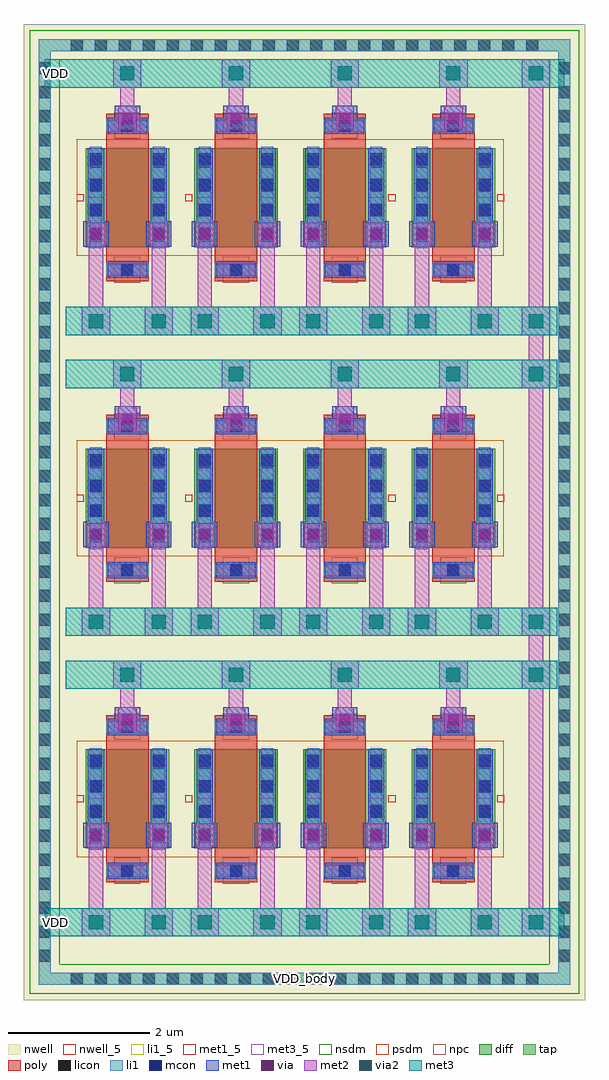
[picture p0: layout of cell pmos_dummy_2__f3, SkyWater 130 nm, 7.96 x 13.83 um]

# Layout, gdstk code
from math import pi, radians
import gdstk
lib = gdstk.Library(unit=1e-6, precision=1e-09)
def R(c, l, rs):  # rectangles x0, y0, x1, y1
    for r in rs: c.add(gdstk.rectangle(r[:2], r[2:], *l))
def A(c, l, x, y, w, h, nx, ny, dx, dy):  # array of equal rectangles
    R(c, l, [(x+i*dx, y+j*dy, x+i*dx+w, y+j*dy+h) for i in range(nx) for j in range(ny)])
nwell_5 = (64, 5)
nwell = (64, 20)
diff = (65, 20)
tap = (65, 44)
poly = (66, 20)
licon = (66, 44)
li1_5 = (67, 5)
li1 = (67, 20)
mcon = (67, 44)
met1_5 = (68, 5)
met1 = (68, 20)
via = (68, 44)
met2 = (69, 20)
via2 = (69, 44)
met3_5 = (70, 5)
met3 = (70, 20)
nsdm = (93, 44)
psdm = (94, 20)
npc = (95, 20)

sky130_fd_pr__pfet_01v8_ = lib.new_cell('sky130_fd_pr__pfet_01v8_RGDEC8')
R(sky130_fd_pr__pfet_01v8_, nwell, [(-0.77,-1.2,0.77,1.2)])
R(sky130_fd_pr__pfet_01v8_, diff, [(-0.59,-0.7,0.59,0.7)])
R(sky130_fd_pr__pfet_01v8_, poly, [(-0.3,-1.185,0.3,1.185)])
A(sky130_fd_pr__pfet_01v8_, licon, -0.53, -0.595, 0.17, 0.17, 1, 4, 0, 0.34)
A(sky130_fd_pr__pfet_01v8_, licon, 0.36, -0.595, 0.17, 0.17, 1, 4, 0, 0.34)
R(sky130_fd_pr__pfet_01v8_, licon, [(-0.085,-1.105,0.085,-0.935), (-0.085,0.935,0.085,1.105)])
R(sky130_fd_pr__pfet_01v8_, li1, [(-0.3,-1.105,0.3,-0.935), (-0.53,-0.72,-0.36,0.72), (0.36,-0.72,0.53,0.72), (-0.3,0.935,0.3,1.105)])
A(sky130_fd_pr__pfet_01v8_, mcon, -0.53, -0.625, 0.17, 0.17, 1, 4, 0, 0.36)
A(sky130_fd_pr__pfet_01v8_, mcon, 0.36, -0.625, 0.17, 0.17, 1, 4, 0, 0.36)
R(sky130_fd_pr__pfet_01v8_, mcon, [(-0.085,-1.105,0.085,-0.935), (-0.085,0.935,0.085,1.105)])
R(sky130_fd_pr__pfet_01v8_, met1, [(-0.28,-1.135,0.28,-0.905), (-0.56,-0.7,-0.33,0.7), (0.33,-0.7,0.56,0.7), (-0.28,0.905,0.28,1.135)])
R(sky130_fd_pr__pfet_01v8_, psdm, [(-0.715,-0.825,0.715,0.825)])
R(sky130_fd_pr__pfet_01v8_, npc, [(-0.185,-1.205,0.185,-0.835), (-0.185,0.835,0.185,1.205)])
sky130_fd_pr__pfet_01v8_.add(gdstk.Label('D', (-0.445,0), layer=67, texttype=5))
sky130_fd_pr__pfet_01v8_.add(gdstk.Label('S', (0.445,0), layer=67, texttype=5))
sky130_fd_pr__pfet_01v8_.add(gdstk.Label('G', (0,1.02), layer=67, texttype=5))

pfet_01v8_w1p4_l0p6_m6__ = lib.new_cell('pfet_01v8_W1p4_L0p6_m6__nf1_gboth_sdfull_ng')
R(pfet_01v8_w1p4_l0p6_m6__, nwell_5, [(0.05,1.15,0.15,1.25)])
R(pfet_01v8_w1p4_l0p6_m6__, nwell, [(0.05,1.15,0.15,1.25)])
R(pfet_01v8_w1p4_l0p6_m6__, met1_5, [(0.21,1.2,0.44,1.4), (1.1,1.2,1.33,1.4), (0.49,2.105,1.05,2.335)])
R(pfet_01v8_w1p4_l0p6_m6__, met1, [(0.21,1.2,0.44,1.4), (1.1,1.2,1.33,1.4), (0.49,2.105,1.05,2.335)])
pfet_01v8_w1p4_l0p6_m6__.add(gdstk.Reference(sky130_fd_pr__pfet_01v8_, (0.77,1.2)))
pfet_01v8_w1p4_l0p6_m6__.add(gdstk.Label('D', (0.325,1.3), layer=68, texttype=5))
pfet_01v8_w1p4_l0p6_m6__.add(gdstk.Label('S', (1.215,1.3), layer=68, texttype=5))
pfet_01v8_w1p4_l0p6_m6__.add(gdstk.Label('G', (0.77,2.22), layer=68, texttype=5))
pfet_01v8_w1p4_l0p6_m6__.add(gdstk.Label('B', (0.1,1.2), layer=64, texttype=5))

pmos_dummy_2__f3 = lib.new_cell('pmos_dummy_2__f3')
R(pmos_dummy_2__f3, nwell, [(-0.7,-1.65,7.26,12.18)])
R(pmos_dummy_2__f3, tap, [(-0.485,-1.435,7.045,-1.265), (-0.485,-1.265,-0.315,11.795), (6.875,-1.265,7.045,11.795), (-0.485,11.795,7.045,11.965)])
A(pmos_dummy_2__f3, licon, -0.035, -1.435, 0.17, 0.17, 20, 2, 0.34, 13.23)
A(pmos_dummy_2__f3, licon, -0.485, -1.11, 0.17, 0.17, 1, 38, 0, 0.34)
A(pmos_dummy_2__f3, licon, 6.875, -1.11, 0.17, 0.17, 1, 38, 0, 0.34)
R(pmos_dummy_2__f3, li1_5, [(3.23,-1.4,3.33,-1.3)])
R(pmos_dummy_2__f3, li1, [(-0.485,-1.435,7.045,-1.265), (-0.485,-1.265,-0.315,11.795), (6.875,-1.265,7.045,11.795), (-0.485,11.795,7.045,11.965)])
A(pmos_dummy_2__f3, met1, 0.145, 0.505, 0.36, 0.36, 1, 3, 0, 4.26)
A(pmos_dummy_2__f3, met1, 1.035, 0.505, 0.36, 0.36, 1, 3, 0, 4.26)
A(pmos_dummy_2__f3, met1, 1.685, 0.505, 0.36, 0.36, 1, 3, 0, 4.26)
A(pmos_dummy_2__f3, met1, 2.575, 0.505, 0.36, 0.36, 1, 3, 0, 4.26)
A(pmos_dummy_2__f3, met1, 3.225, 0.505, 0.36, 0.36, 1, 3, 0, 4.26)
A(pmos_dummy_2__f3, met1, 4.115, 0.505, 0.36, 0.36, 1, 3, 0, 4.26)
A(pmos_dummy_2__f3, met1, 4.765, 0.505, 0.36, 0.36, 1, 3, 0, 4.26)
A(pmos_dummy_2__f3, met1, 5.655, 0.505, 0.36, 0.36, 1, 3, 0, 4.26)
A(pmos_dummy_2__f3, met1, 0.59, 2.14, 0.36, 0.36, 4, 3, 1.54, 4.26)
A(pmos_dummy_2__f3, via, 0.25, 0.61, 0.15, 0.15, 1, 3, 0, 4.26)
A(pmos_dummy_2__f3, via, 1.14, 0.61, 0.15, 0.15, 1, 3, 0, 4.26)
A(pmos_dummy_2__f3, via, 1.79, 0.61, 0.15, 0.15, 1, 3, 0, 4.26)
A(pmos_dummy_2__f3, via, 2.68, 0.61, 0.15, 0.15, 1, 3, 0, 4.26)
A(pmos_dummy_2__f3, via, 3.33, 0.61, 0.15, 0.15, 1, 3, 0, 4.26)
A(pmos_dummy_2__f3, via, 4.22, 0.61, 0.15, 0.15, 1, 3, 0, 4.26)
A(pmos_dummy_2__f3, via, 4.87, 0.61, 0.15, 0.15, 1, 3, 0, 4.26)
A(pmos_dummy_2__f3, via, 5.76, 0.61, 0.15, 0.15, 1, 3, 0, 4.26)
A(pmos_dummy_2__f3, via, 0.695, 2.245, 0.15, 0.15, 4, 3, 1.54, 4.26)
A(pmos_dummy_2__f3, met2, 0.125, -0.75, 0.4, 0.4, 1, 3, 0, 4.26)
A(pmos_dummy_2__f3, met2, 1.015, -0.75, 0.4, 0.4, 1, 3, 0, 4.26)
A(pmos_dummy_2__f3, met2, 1.665, -0.75, 0.4, 0.4, 1, 3, 0, 4.26)
A(pmos_dummy_2__f3, met2, 2.555, -0.75, 0.4, 0.4, 1, 3, 0, 4.26)
A(pmos_dummy_2__f3, met2, 3.205, -0.75, 0.4, 0.4, 1, 3, 0, 4.26)
A(pmos_dummy_2__f3, met2, 4.095, -0.75, 0.4, 0.4, 1, 3, 0, 4.26)
A(pmos_dummy_2__f3, met2, 4.745, -0.75, 0.4, 0.4, 1, 3, 0, 4.26)
A(pmos_dummy_2__f3, met2, 5.635, -0.75, 0.4, 0.4, 1, 3, 0, 4.26)
A(pmos_dummy_2__f3, met2, 0.225, -0.35, 0.2, 0.875, 1, 3, 0, 4.26)
A(pmos_dummy_2__f3, met2, 1.115, -0.35, 0.2, 0.875, 1, 3, 0, 4.26)
A(pmos_dummy_2__f3, met2, 1.765, -0.35, 0.2, 0.875, 1, 3, 0, 4.26)
A(pmos_dummy_2__f3, met2, 2.655, -0.35, 0.2, 0.875, 1, 3, 0, 4.26)
A(pmos_dummy_2__f3, met2, 3.305, -0.35, 0.2, 0.875, 1, 3, 0, 4.26)
A(pmos_dummy_2__f3, met2, 4.195, -0.35, 0.2, 0.875, 1, 3, 0, 4.26)
A(pmos_dummy_2__f3, met2, 4.845, -0.35, 0.2, 0.875, 1, 3, 0, 4.26)
A(pmos_dummy_2__f3, met2, 5.735, -0.35, 0.2, 0.875, 1, 3, 0, 4.26)
A(pmos_dummy_2__f3, met2, 6.46, -0.35, 0.2, 3.11, 1, 3, 0, 4.26)
A(pmos_dummy_2__f3, met2, 0.195, 0.525, 0.26, 0.32, 1, 3, 0, 4.26)
A(pmos_dummy_2__f3, met2, 1.085, 0.525, 0.26, 0.32, 1, 3, 0, 4.26)
A(pmos_dummy_2__f3, met2, 1.735, 0.525, 0.26, 0.32, 1, 3, 0, 4.26)
A(pmos_dummy_2__f3, met2, 2.625, 0.525, 0.26, 0.32, 1, 3, 0, 4.26)
A(pmos_dummy_2__f3, met2, 3.275, 0.525, 0.26, 0.32, 1, 3, 0, 4.26)
A(pmos_dummy_2__f3, met2, 4.165, 0.525, 0.26, 0.32, 1, 3, 0, 4.26)
A(pmos_dummy_2__f3, met2, 4.815, 0.525, 0.26, 0.32, 1, 3, 0, 4.26)
A(pmos_dummy_2__f3, met2, 5.705, 0.525, 0.26, 0.32, 1, 3, 0, 4.26)
A(pmos_dummy_2__f3, met2, 0.64, 2.16, 0.26, 0.32, 4, 3, 1.54, 4.26)
A(pmos_dummy_2__f3, met2, 0.67, 2.48, 0.2, 0.28, 4, 3, 1.54, 4.26)
A(pmos_dummy_2__f3, met2, 0.57, 2.76, 0.4, 0.4, 4, 3, 1.54, 4.26)
R(pmos_dummy_2__f3, met2, [(6.36,-0.75,6.76,-0.35), (6.36,2.76,6.76,3.16), (6.46,3.16,6.66,3.51), (6.36,3.51,6.76,3.91), (6.36,7.02,6.76,7.42), (6.46,7.42,6.66,7.77), (6.36,7.77,6.76,8.17), (6.36,11.28,6.76,11.68)])
A(pmos_dummy_2__f3, via2, 0.225, -0.65, 0.2, 0.2, 1, 3, 0, 4.26)
A(pmos_dummy_2__f3, via2, 1.115, -0.65, 0.2, 0.2, 1, 3, 0, 4.26)
A(pmos_dummy_2__f3, via2, 1.765, -0.65, 0.2, 0.2, 1, 3, 0, 4.26)
A(pmos_dummy_2__f3, via2, 2.655, -0.65, 0.2, 0.2, 1, 3, 0, 4.26)
A(pmos_dummy_2__f3, via2, 3.305, -0.65, 0.2, 0.2, 1, 3, 0, 4.26)
A(pmos_dummy_2__f3, via2, 4.195, -0.65, 0.2, 0.2, 1, 3, 0, 4.26)
A(pmos_dummy_2__f3, via2, 4.845, -0.65, 0.2, 0.2, 1, 3, 0, 4.26)
A(pmos_dummy_2__f3, via2, 5.735, -0.65, 0.2, 0.2, 1, 3, 0, 4.26)
A(pmos_dummy_2__f3, via2, 0.67, 2.86, 0.2, 0.2, 4, 3, 1.54, 4.26)
R(pmos_dummy_2__f3, via2, [(6.46,-0.65,6.66,-0.45), (6.46,2.86,6.66,3.06), (6.46,3.61,6.66,3.81), (6.46,7.12,6.66,7.32), (6.46,7.87,6.66,8.07), (6.46,11.38,6.66,11.58)])
R(pmos_dummy_2__f3, met3_5, [(-0.3,-0.6,-0.2,-0.5), (-0.3,11.43,-0.2,11.53)])
R(pmos_dummy_2__f3, met3, [(-0.4,-0.75,6.96,-0.35), (-0.1,2.76,6.86,3.16), (-0.1,3.51,6.86,3.91), (-0.1,7.02,6.86,7.42), (-0.1,7.77,6.86,8.17), (-0.4,11.28,6.96,11.68)])
R(pmos_dummy_2__f3, nsdm, [(-0.61,-1.56,7.17,-1.14), (-0.61,-1.14,-0.19,11.67), (6.75,-1.14,7.17,11.67), (-0.61,11.67,7.17,12.09)])
A(pmos_dummy_2__f3, psdm, 1.485, 0.375, 0.11, 1.65, 3, 3, 1.54, 4.26)
pmos_dummy_2__f3.add(gdstk.Reference(pfet_01v8_w1p4_l0p6_m6__, (6.16,8.52), rotation=pi, x_reflection=True))
pmos_dummy_2__f3.add(gdstk.Reference(pfet_01v8_w1p4_l0p6_m6__, (4.62,8.52), rotation=pi, x_reflection=True))
pmos_dummy_2__f3.add(gdstk.Reference(pfet_01v8_w1p4_l0p6_m6__, (1.54,8.52)))
pmos_dummy_2__f3.add(gdstk.Reference(pfet_01v8_w1p4_l0p6_m6__, (0,8.52)))
pmos_dummy_2__f3.add(gdstk.Reference(pfet_01v8_w1p4_l0p6_m6__, (6.16,4.26), rotation=pi, x_reflection=True))
pmos_dummy_2__f3.add(gdstk.Reference(pfet_01v8_w1p4_l0p6_m6__, (4.62,4.26), rotation=pi, x_reflection=True))
pmos_dummy_2__f3.add(gdstk.Reference(pfet_01v8_w1p4_l0p6_m6__, (1.54,4.26)))
pmos_dummy_2__f3.add(gdstk.Reference(pfet_01v8_w1p4_l0p6_m6__, (0,4.26)))
pmos_dummy_2__f3.add(gdstk.Reference(pfet_01v8_w1p4_l0p6_m6__, (6.16,0), rotation=pi, x_reflection=True))
pmos_dummy_2__f3.add(gdstk.Reference(pfet_01v8_w1p4_l0p6_m6__, (4.62,0), rotation=pi, x_reflection=True))
pmos_dummy_2__f3.add(gdstk.Reference(pfet_01v8_w1p4_l0p6_m6__, (1.54,0)))
pmos_dummy_2__f3.add(gdstk.Reference(pfet_01v8_w1p4_l0p6_m6__, (0,0)))
pmos_dummy_2__f3.add(gdstk.Label('VDD', (-0.25,11.48), layer=70, texttype=5))
pmos_dummy_2__f3.add(gdstk.Label('VDD', (-0.25,-0.55), layer=70, texttype=5))
pmos_dummy_2__f3.add(gdstk.Label('VDD_body', (3.28,-1.35), layer=67, texttype=5))

lib.write_gds('pmos_dummy_2__f3.gds')
